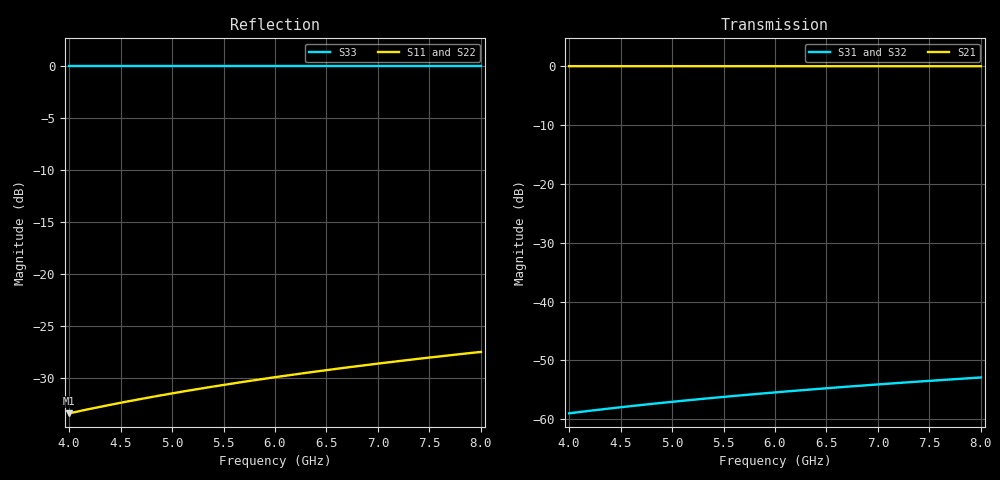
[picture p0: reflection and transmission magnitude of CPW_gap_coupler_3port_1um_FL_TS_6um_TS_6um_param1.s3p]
! Sonnet Data File
! From: em Version : 15.52
! From Project: CPW_gap_coupler_3port_1um_FL_TS_6um
! Data is De-embedded
! Data File Written: 08/14/2018 17:24:40
!< HDATE 08/14/2018 17:19:51
!< MDATE 08/14/2018 17:19:51
!< PARAMS
!< gap = 2.0
!< cpwS = 5.0
!< cpwS1 = 5.0
!< feedW = 12.0
!< feedS1 = 5.0
!< cond_length = 44.0
!< inner_length = 26.0
!< hangerW = 12.0000175
!< open_gap = 22.0
!< coupler_length = 50.0
!< END PARAMS
# GHZ S MA R 50.00000
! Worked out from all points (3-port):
!   201 points, 4 GHz to 8 GHz, reference 50 ohm
!   strongest paths, dB at 4 GHz, 5 GHz, 6 GHz, 7 GHz, 8 GHz:
!     S21: 0.0, 0.0, 0.0, 0.0, 0.0
!     S31: -59.0, -57.0, -55.4, -54.1, -52.9
!     S32: -59.0, -57.1, -55.5, -54.2, -53.0
!   lowest |S11| = -33.4 dB at 4 GHz (marker M1), VSWR 1.04, Z = 50.3 + j2.13 ohm
!   |S11| at or under -10 dB: start of sweep to end of sweep
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4  0.02137 81.4  0.9998 -8.9  0.001124 89.1
   0.9998 -8.9  0.02137 80.8  0.001121 81.2
   0.001124 89.1  0.001121 81.2  1 -2.0
4.22  0.02254 80.9  0.9997 -9.4  0.001186 89.0
      0.9997 -9.4  0.02254 80.3  0.001183 80.8
      0.001186 89.0  0.001183 80.8  1 -2.1
4.48  0.02391 80.4  0.9997 -10.0  0.00126 88.9
      0.9997 -10.0  0.02391 79.7  0.001255 80.2
      0.00126 88.9  0.001255 80.2  1 -2.3
4.92  0.02623 79.4  0.9997 -10.9  0.001384 88.8
      0.9997 -10.9  0.02623 78.7  0.001379 79.2
      0.001384 88.8  0.001379 79.2  1 -2.5
5.4  0.02875 78.4  0.9996 -12.0  0.001521 88.7
     0.9996 -12.0  0.02875 77.6  0.001513 78.2
     0.001521 88.7  0.001513 78.2  1 -2.7
6  0.03189 77.1  0.9995 -13.3  0.001692 88.6
   0.9995 -13.3  0.03189 76.2  0.001681 76.9
   0.001692 88.6  0.001681 76.9  1 -3.0
6.42  0.03407 76.2  0.9994 -14.3  0.001812 88.5
      0.9994 -14.3  0.03407 75.3  0.001799 76.0
      0.001812 88.5  0.001799 76.0  1 -3.2
6.96  0.03687 75.0  0.9993 -15.5  0.001966 88.3
      0.9993 -15.5  0.03687 74.0  0.00195 74.8
      0.001966 88.3  0.00195 74.8  1 -3.5
7.52  0.03975 73.8  0.9992 -16.7  0.002127 88.2
      0.9992 -16.7  0.03975 72.7  0.002107 73.5
      0.002127 88.2  0.002107 73.5  1 -3.8
8  0.0422 72.8  0.9991 -17.8  0.002266 88.0
   0.9991 -17.8  0.0422 71.6  0.002241 72.5
   0.002266 88.0  0.002241 72.5  1 -4.0
